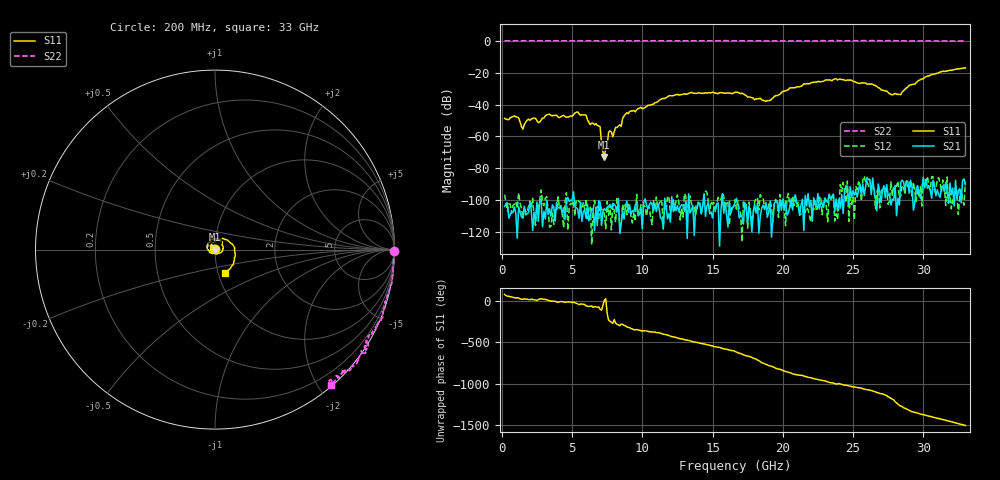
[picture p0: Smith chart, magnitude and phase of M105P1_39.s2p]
# GHZ S RI R 50
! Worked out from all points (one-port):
!   329 points, 200 MHz to 33 GHz, reference 50 ohm
!   lowest |S11| = -72.9 dB at 7.3 GHz (marker M1), VSWR 1.00, Z = 50 + j0.00438 ohm
!   |S11| at or under -10 dB: start of sweep to end of sweep
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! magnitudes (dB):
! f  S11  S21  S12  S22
! 200 MHz  -48.7  -103.9  -96.5  0.0
! 1.1 GHz  -47.9  -123.8  -105.2  0.0
! 1.5 GHz  -55.5  -111.0  -111.6  0.0
! 1.9 GHz  -49.2  -107.7  -103.9  0.0
! 5.7 GHz  -46.4  -113.2  -104.4  0.0
! 7 GHz  -54.0  -101.2  -102.5  0.0
! 7.1 GHz  -64.7  -115.9  -106.0  0.0
! 7.3 GHz  -72.9  -105.3  -108.7  0.0
! 7.5 GHz  -66.0  -104.5  -100.8  0.0
! 7.6 GHz  -57.4  -103.6  -109.5  0.0
! 7.9 GHz  -60.2  -102.0  -103.2  0.0
! 8.9 GHz  -45.2  -100.5  -109.1  0.0
! 11.2 GHz  -37.4  -105.3  -102.0  0.0
! 13.5 GHz  -32.4  -106.2  -102.0  0.0
! 16.6 GHz  -32.3  -101.8  -99.7  0.0
! 18.8 GHz  -38.0  -101.4  -104.0  -0.1
! 22.1 GHz  -26.1  -113.3  -106.3  -0.2
! 24.9 GHz  -24.7  -98.1  -102.6  0.0
! 27.6 GHz  -33.3  -97.1  -100.6  0.0
! 28.4 GHz  -33.8  -88.8  -97.4  0.0
! 30.3 GHz  -22.1  -92.5  -85.1  0.0
! 33 GHz  -17.0  -90.3  -88.3  -0.1
